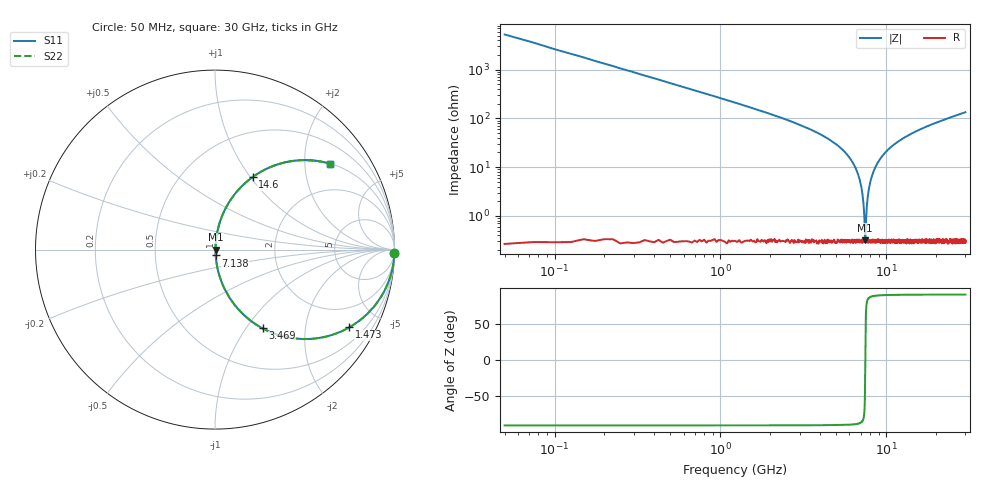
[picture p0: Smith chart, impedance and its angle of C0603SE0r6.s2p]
!	AVX Thin Film Operation 	Date: April 2014
!	Description: Accu-P® Series, Thin Film  SMD RF Capacitor
!	Part Number: 06031J0R6PBSTR
# MHZ S MA R 50
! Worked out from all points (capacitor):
!   1201 points, 50 MHz to 30 GHz, reference 50 ohm
!   read as one part in series: C = 599 fF near 199.8 MHz
!   lowest |Z| = 317 mohm at 7.463 GHz (marker M1)
!   series resonance near 7.473 GHz, so ESL is about 760 pH
!   S11 on the Smith chart (normalised r, x): 50 MHz: open; 1.473 GHz: 1.01, -3.46; 3.469 GHz: 1.01, -1.20; 7.138 GHz: 1.01, -0.07; 14.6 GHz: 1.01, +1.02; 30 GHz: 1.01, +2.67
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50  1 -1.1  0.019 88.9  0.019 88.9  1 -1.1
274.625  0.995 -5.9  0.103 84.1  0.103 84.1  0.995 -5.9
499.25  0.982 -10.7  0.186 79.3  0.186 79.3  0.982 -10.7
898.583  0.945 -19.0  0.325 71.0  0.325 71.0  0.945 -19.0
1472.625  0.865 -30.0  0.5 59.9  0.5 59.9  0.865 -30.0
3469.292  0.513 -58.8  0.856 30.9  0.856 30.9  0.513 -58.8
5041.667  0.275 -73.4  0.959 15.9  0.959 15.9  0.275 -73.4
6414.375  0.108 -82.2  0.991 6.2  0.991 6.2  0.108 -82.2
6863.625  0.06 -83.7  0.995 3.4  0.995 3.4  0.06 -83.7
7138.167  0.033 -82.8  0.996 1.9  0.996 1.9  0.033 -82.8
7362.792  0.011 -73.3  0.997 0.6  0.997 0.6  0.011 -73.3
7462.625  0.003181 -17.6  0.997 0.1  0.997 0.1  0.003181 -17.6
7562.458  0.008969 69.8  0.997 -0.5  0.997 -0.5  0.008969 69.8
7837  0.034 82.9  0.996 -1.9  0.996 -1.9  0.034 82.9
8236.333  0.069 83.5  0.995 -3.9  0.995 -3.9  0.069 83.5
9010.042  0.132 81.1  0.988 -7.6  0.988 -7.6  0.132 81.1
10058.29  0.209 77.1  0.975 -12.0  0.975 -12.0  0.209 77.1
14600.71  0.455 62.6  0.888 -27.0  0.888 -27.0  0.455 62.6
15025  0.472 61.5  0.879 -28.2  0.879 -28.2  0.472 61.5
20016.67  0.632 50.6  0.773 -39.2  0.773 -39.2  0.632 50.6
25033.29  0.734 42.6  0.677 -47.2  0.677 -47.2  0.734 42.6
30000  0.8 36.8  0.598 -53.1  0.598 -53.1  0.8 36.8
